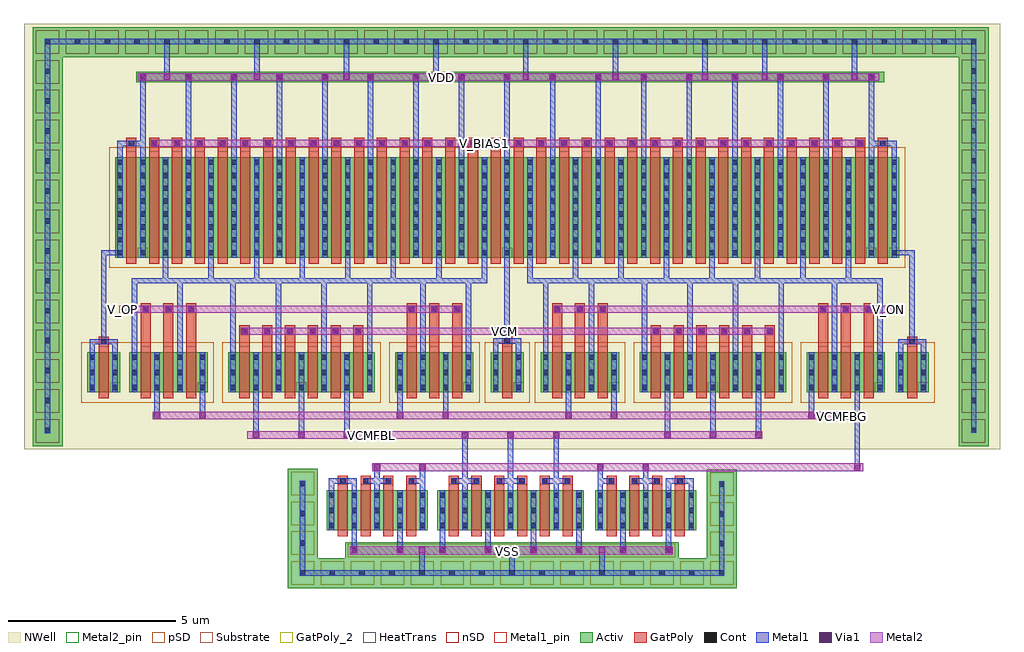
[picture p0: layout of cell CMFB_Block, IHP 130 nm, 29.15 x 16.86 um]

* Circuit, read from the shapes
.subckt CMFB_Block VCM VCMFBG VCMFBL VDD VSS V_BIAS1 V_ON V_OP
XM1 VSS VSS VSS VSS sg13_lv_nmos w=1.2u l=0.3u m=2
XM2 VCMFBG VCMFBG VSS VSS sg13_lv_nmos w=1.2u l=0.3u m=6
XM3 VCMFBL VCMFBL VSS VSS sg13_lv_nmos w=1.2u l=0.3u m=6
XM4 VDD VDD VDD VDD sg13_lv_pmos w=1.2u l=0.3u m=3
XM5 VDD VDD VDD VDD sg13_lv_pmos w=3u l=0.3u m=2
XM6 VCMFBG V_OP n1 VDD sg13_lv_pmos w=1.2u l=0.3u m=6
XM7 n1 V_BIAS1 VDD VDD sg13_lv_pmos w=3u l=0.3u m=16
XM8 VCMFBL VCM n1 VDD sg13_lv_pmos w=1.2u l=0.3u m=6
XM9 n2 V_BIAS1 VDD VDD sg13_lv_pmos w=3u l=0.3u m=16
XM10 VCMFBG V_ON n2 VDD sg13_lv_pmos w=1.2u l=0.3u m=6
XM11 VCMFBL VCM n2 VDD sg13_lv_pmos w=1.2u l=0.3u m=6
.ends

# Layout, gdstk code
from math import pi, radians
import gdstk
lib = gdstk.Library(unit=1e-6, precision=5e-09)
def R(c, l, rs):  # rectangles x0, y0, x1, y1
    for r in rs: c.add(gdstk.rectangle(r[:2], r[2:], *l))
def A(c, l, x, y, w, h, nx, ny, dx, dy):  # array of equal rectangles
    R(c, l, [(x+i*dx, y+j*dy, x+i*dx+w, y+j*dy+h) for i in range(nx) for j in range(ny)])
Activ = (1, 0)
GatPoly = (5, 0)
GatPoly_2 = (5, 2)
Cont = (6, 0)
nSD = (7, 0)
Metal1 = (8, 0)
Metal1_pin = (8, 2)
Metal2 = (10, 0)
Metal2_pin = (10, 2)
pSD = (14, 0)
Via1 = (19, 0)
NWell = (31, 0)
Substrate = (40, 0)
HeatTrans = (51, 0)

pmos_1 = lib.new_cell('pmos$1')
A(pmos_1, Activ, 0, 0, 0.3, 0.3, 17, 1, 0.68, 0)
R(pmos_1, Activ, [(0,0,11.18,3)])
A(pmos_1, GatPoly, 0.34, -0.18, 0.3, 3.36, 16, 1, 0.68, 0)
R(pmos_1, GatPoly, [(0.34,-0.18,0.64,3.18)])
A(pmos_1, Cont, 0.07, 0.07, 0.16, 0.16, 17, 7, 0.68, 0.385)
A(pmos_1, Cont, 0.07, 2.77, 0.16, 0.16, 17, 1, 0.68, 0)
A(pmos_1, Metal1, 0.75, 0, 0.16, 3, 16, 1, 0.68, 0)
R(pmos_1, Metal1, [(0.07,0,0.23,3), (0.07,0,0.23,3), (0.75,0,0.91,3)])
R(pmos_1, pSD, [(-0.18,-0.3,11.36,3.3)])
R(pmos_1, NWell, [(-0.31,-0.31,11.49,3.31)])
R(pmos_1, Substrate, [(10.88,0,11.18,0.3)])
A(pmos_1, HeatTrans, 0.34, -0.18, 0.3, 3.36, 16, 1, 0.68, 0)
pmos_1.add(gdstk.Label('pmos', (0.49,1.5), layer=63, texttype=0))
pmos_1.add(gdstk.Label('pmos', (0.49,1.5), layer=51, texttype=0))
pmos_1.add(gdstk.Label('pmos', (1.17,1.5), layer=51, texttype=0))
pmos_1.add(gdstk.Label('pmos', (1.85,1.5), layer=51, texttype=0))
pmos_1.add(gdstk.Label('pmos', (2.53,1.5), layer=51, texttype=0))
pmos_1.add(gdstk.Label('pmos', (3.21,1.5), layer=51, texttype=0))
pmos_1.add(gdstk.Label('pmos', (3.89,1.5), layer=51, texttype=0))
pmos_1.add(gdstk.Label('pmos', (4.57,1.5), layer=51, texttype=0))
pmos_1.add(gdstk.Label('pmos', (5.25,1.5), layer=51, texttype=0))
pmos_1.add(gdstk.Label('pmos', (5.93,1.5), layer=51, texttype=0))
pmos_1.add(gdstk.Label('pmos', (6.61,1.5), layer=51, texttype=0))
pmos_1.add(gdstk.Label('pmos', (7.29,1.5), layer=51, texttype=0))
pmos_1.add(gdstk.Label('pmos', (7.97,1.5), layer=51, texttype=0))
pmos_1.add(gdstk.Label('pmos', (8.65,1.5), layer=51, texttype=0))
pmos_1.add(gdstk.Label('pmos', (9.33,1.5), layer=51, texttype=0))
pmos_1.add(gdstk.Label('pmos', (10.01,1.5), layer=51, texttype=0))
pmos_1.add(gdstk.Label('pmos', (10.69,1.5), layer=51, texttype=0))

pmos = lib.new_cell('pmos')
A(pmos, Activ, 0, 0, 0.3, 0.3, 4, 1, 0.68, 0)
R(pmos, Activ, [(0,0,2.34,1.2)])
A(pmos, GatPoly, 0.34, -0.18, 0.3, 1.56, 3, 1, 0.68, 0)
R(pmos, GatPoly, [(0.34,-0.18,0.64,1.38)])
A(pmos, Cont, 0.07, 0.07, 0.16, 0.16, 4, 3, 0.68, 0.45)
A(pmos, Metal1, 0.75, 0, 0.16, 1.2, 3, 1, 0.68, 0)
R(pmos, Metal1, [(0.07,0,0.23,1.2), (0.07,0,0.23,1.2), (0.75,0,0.91,1.2)])
R(pmos, pSD, [(-0.18,-0.3,2.52,1.5)])
R(pmos, NWell, [(-0.31,-0.31,2.65,1.51)])
R(pmos, Substrate, [(2.04,0,2.34,0.3)])
A(pmos, HeatTrans, 0.34, -0.18, 0.3, 1.56, 3, 1, 0.68, 0)
pmos.add(gdstk.Label('pmos', (0.49,0.6), layer=63, texttype=0))
pmos.add(gdstk.Label('pmos', (0.49,0.6), layer=51, texttype=0))
pmos.add(gdstk.Label('pmos', (1.17,0.6), layer=51, texttype=0))
pmos.add(gdstk.Label('pmos', (1.85,0.6), layer=51, texttype=0))

nmos_1 = lib.new_cell('nmos$1')
A(nmos_1, Activ, 0, 0, 0.3, 0.3, 4, 1, 0.68, 0)
R(nmos_1, Activ, [(0,0,2.34,1.2)])
A(nmos_1, GatPoly, 0.34, -0.18, 0.3, 1.56, 3, 1, 0.68, 0)
R(nmos_1, GatPoly_2, [(0.34,-0.18,0.64,1.38)])
A(nmos_1, Cont, 0.07, 0.07, 0.16, 0.16, 4, 3, 0.68, 0.45)
A(nmos_1, Metal1, 0.07, 0, 0.16, 1.2, 4, 1, 0.68, 0)
R(nmos_1, Metal1_pin, [(0.07,0,0.23,1.2), (0.75,0,0.91,1.2)])
A(nmos_1, HeatTrans, 0.34, -0.18, 0.3, 1.56, 3, 1, 0.68, 0)
nmos_1.add(gdstk.Label('nmos', (0.49,0.6), layer=63, texttype=0))
nmos_1.add(gdstk.Label('nmos', (0.49,0.6), layer=51, texttype=0))
nmos_1.add(gdstk.Label('nmos', (1.17,0.6), layer=51, texttype=0))
nmos_1.add(gdstk.Label('nmos', (1.85,0.6), layer=51, texttype=0))

pmos_3 = lib.new_cell('pmos$3')
R(pmos_3, Activ, [(0,0,0.3,0.3), (0,0,0.98,3), (0.68,0,0.98,0.3)])
R(pmos_3, GatPoly, [(0.34,-0.18,0.64,3.18), (0.34,-0.18,0.64,3.18)])
A(pmos_3, Cont, 0.07, 0.07, 0.16, 0.16, 1, 7, 0, 0.385)
A(pmos_3, Cont, 0.75, 0.07, 0.16, 0.16, 1, 7, 0, 0.385)
R(pmos_3, Cont, [(0.07,2.77,0.23,2.93), (0.75,2.77,0.91,2.93)])
R(pmos_3, Metal1, [(0.07,0,0.23,3), (0.07,0,0.23,3), (0.75,0,0.91,3), (0.75,0,0.91,3)])
R(pmos_3, pSD, [(-0.18,-0.3,1.16,3.3)])
R(pmos_3, NWell, [(-0.31,-0.31,1.29,3.31)])
R(pmos_3, Substrate, [(0.68,0,0.98,0.3)])
R(pmos_3, HeatTrans, [(0.34,-0.18,0.64,3.18)])
pmos_3.add(gdstk.Label('pmos', (0.49,1.5), layer=63, texttype=0))
pmos_3.add(gdstk.Label('pmos', (0.49,1.5), layer=51, texttype=0))

nmos_2 = lib.new_cell('nmos$2')
R(nmos_2, Activ, [(0,0,0.3,0.3), (0,0,0.98,1.2), (0.68,0,0.98,0.3)])
R(nmos_2, GatPoly, [(0.34,-0.18,0.64,1.38)])
R(nmos_2, GatPoly_2, [(0.34,-0.18,0.64,1.38)])
A(nmos_2, Cont, 0.07, 0.07, 0.16, 0.16, 1, 3, 0, 0.45)
A(nmos_2, Cont, 0.75, 0.07, 0.16, 0.16, 1, 3, 0, 0.45)
R(nmos_2, Metal1, [(0.07,0,0.23,1.2), (0.75,0,0.91,1.2)])
R(nmos_2, Metal1_pin, [(0.07,0,0.23,1.2), (0.75,0,0.91,1.2)])
R(nmos_2, HeatTrans, [(0.34,-0.18,0.64,1.38)])
nmos_2.add(gdstk.Label('nmos', (0.49,0.6), layer=63, texttype=0))
nmos_2.add(gdstk.Label('nmos', (0.49,0.6), layer=51, texttype=0))

pmos_4 = lib.new_cell('pmos$4')
R(pmos_4, Activ, [(0,0,0.3,0.3), (0,0,0.98,1.2), (0.68,0,0.98,0.3)])
R(pmos_4, GatPoly, [(0.34,-0.18,0.64,1.38), (0.34,-0.18,0.64,1.38)])
A(pmos_4, Cont, 0.07, 0.07, 0.16, 0.16, 1, 3, 0, 0.45)
A(pmos_4, Cont, 0.75, 0.07, 0.16, 0.16, 1, 3, 0, 0.45)
R(pmos_4, Metal1, [(0.07,0,0.23,1.2), (0.07,0,0.23,1.2), (0.75,0,0.91,1.2), (0.75,0,0.91,1.2)])
R(pmos_4, pSD, [(-0.18,-0.3,1.16,1.5)])
R(pmos_4, NWell, [(-0.31,-0.31,1.29,1.51)])
R(pmos_4, Substrate, [(0.68,0,0.98,0.3)])
R(pmos_4, HeatTrans, [(0.34,-0.18,0.64,1.38)])
pmos_4.add(gdstk.Label('pmos', (0.49,0.6), layer=63, texttype=0))
pmos_4.add(gdstk.Label('pmos', (0.49,0.6), layer=51, texttype=0))

cmfb_block = lib.new_cell('CMFB_Block')
A(cmfb_block, Activ, 3.625, -9.855, 0.9, 0.9, 1, 4, 0, 0.89)
A(cmfb_block, Activ, 4.51, -9.855, 0.9, 0.9, 14, 1, 0.895, 0)
A(cmfb_block, Activ, 16.145, -8.98, 0.9, 0.9, 1, 3, 0, 0.89)
A(cmfb_block, Activ, -3.995, -5.615, 0.9, 0.9, 1, 4, 0, 0.895)
A(cmfb_block, Activ, 23.665, -5.61, 0.9, 0.9, 1, 4, 0, 0.895)
A(cmfb_block, Activ, -3.995, -2.04, 0.9, 0.9, 1, 8, 0, 0.895)
A(cmfb_block, Activ, 23.665, -2.035, 0.9, 0.9, 1, 8, 0, 0.895)
A(cmfb_block, Activ, -3.1, 6.005, 0.9, 0.9, 3, 1, 0.89, 0)
A(cmfb_block, Activ, 0.465, 6.005, 0.9, 0.9, 3, 1, 0.895, 0)
A(cmfb_block, Activ, 5.82, 6.005, 0.9, 0.9, 3, 1, 0.895, 0)
A(cmfb_block, Activ, 11.175, 6.005, 0.9, 0.9, 3, 1, 0.895, 0)
A(cmfb_block, Activ, 16.53, 6.005, 0.9, 0.9, 4, 1, 0.895, 0)
R(cmfb_block, Activ, [(5.35,-8.98,15.3,-8.48), (-3.995,5.115,-3.095,6.015), (23.665,5.12,24.565,6.02), (-0.9,5.25,21.45,5.575), (-3.995,6.005,-3.095,6.905), (-0.425,6.005,0.475,6.905), (3.145,6.005,4.045,6.905), (4.035,6.005,4.935,6.905), (4.93,6.005,5.83,6.905), (8.5,6.005,9.4,6.905), (9.39,6.005,10.29,6.905), (10.285,6.005,11.185,6.905), (13.855,6.005,14.755,6.905), (14.745,6.005,15.645,6.905), (15.64,6.005,16.54,6.905), (20.105,6.005,21.005,6.905), (20.995,6.005,21.895,6.905), (21.89,6.005,22.79,6.905), (22.78,6.005,23.68,6.905), (23.665,6.005,24.565,6.905)])
A(cmfb_block, GatPoly, 5.125, -6.825, 0.3, 0.325, 4, 1, 0.68, 0)
A(cmfb_block, GatPoly, 8.435, -6.825, 0.3, 0.325, 6, 1, 0.68, 0)
A(cmfb_block, GatPoly, 13.15, -6.825, 0.3, 0.325, 4, 1, 0.68, 0)
A(cmfb_block, GatPoly, 2.185, -2.675, 0.3, 0.675, 3, 1, 0.68, 0)
A(cmfb_block, GatPoly, 14.475, -2.675, 0.3, 0.675, 3, 1, 0.68, 0)
A(cmfb_block, GatPoly, -1.19, 3.15, 0.3, 0.45, 34, 1, 0.68, 0)
R(cmfb_block, GatPoly, [(3.545,-2.675,3.845,-2), (4.225,-2.675,4.525,-2), (4.225,-2.675,4.525,-2), (4.905,-2.675,5.205,-2), (4.905,-2.675,5.205,-2), (5.585,-2.675,5.885,-2), (5.585,-2.675,5.885,-2), (15.835,-2.675,16.135,-2), (16.515,-2.675,16.815,-2), (16.515,-2.675,16.815,-2), (17.195,-2.675,17.495,-2), (17.195,-2.675,17.495,-2), (17.875,-2.675,18.175,-2), (17.875,-2.675,18.175,-2), (-2.02,-2.67,-1.72,-2.345), (22.125,-2.67,22.425,-2.345), (-0.765,-2.65,-0.465,-1.35), (-0.765,-2.65,-0.465,-1.35), (-0.085,-2.65,0.215,-1.35), (-0.085,-2.65,0.215,-1.35), (0.595,-2.65,0.895,-1.35), (0.595,-2.65,0.895,-1.35), (7.175,-2.65,7.475,-1.35), (7.175,-2.65,7.475,-1.35), (7.855,-2.65,8.155,-1.35), (7.855,-2.65,8.155,-1.35), (8.535,-2.65,8.835,-1.35), (8.535,-2.65,8.835,-1.35), (11.525,-2.65,11.825,-1.35), (11.525,-2.65,11.825,-1.35), (12.205,-2.65,12.505,-1.35), (12.205,-2.65,12.505,-1.35), (12.885,-2.65,13.185,-1.35), (12.885,-2.65,13.185,-1.35), (19.465,-2.65,19.765,-1.35), (19.465,-2.65,19.765,-1.35), (20.145,-2.65,20.445,-1.35), (20.145,-2.65,20.445,-1.35), (20.825,-2.65,21.125,-1.35), (20.825,-2.65,21.125,-1.35), (10.03,-2.645,10.33,-2.32)])
A(cmfb_block, Cont, 3.99, -9.48, 0.16, 0.16, 1, 4, 0, 0.89)
A(cmfb_block, Cont, 4.875, -9.48, 0.16, 0.16, 7, 1, 0.895, 0)
A(cmfb_block, Cont, 10.245, -9.48, 0.16, 0.16, 4, 1, 0.895, 0)
A(cmfb_block, Cont, 12.93, -9.48, 0.16, 0.16, 5, 1, 0.895, 0)
A(cmfb_block, Cont, 8.165, -8.8, 0.16, 0.16, 4, 1, 1.36, 0)
A(cmfb_block, Cont, 16.51, -8.605, 0.16, 0.16, 1, 3, 0, 0.89)
A(cmfb_block, Cont, 5.195, -6.73, 0.16, 0.16, 4, 1, 0.68, 0)
A(cmfb_block, Cont, 8.505, -6.73, 0.16, 0.16, 6, 1, 0.68, 0)
A(cmfb_block, Cont, 13.22, -6.73, 0.16, 0.16, 4, 1, 0.68, 0)
A(cmfb_block, Cont, -3.625, -5.225, 0.16, 0.16, 1, 4, 0, 0.895)
A(cmfb_block, Cont, 24.035, -5.22, 0.16, 0.16, 1, 4, 0, 0.895)
A(cmfb_block, Cont, 2.255, -2.26, 0.16, 0.16, 3, 1, 0.68, 0)
A(cmfb_block, Cont, 14.545, -2.26, 0.16, 0.16, 3, 1, 0.68, 0)
A(cmfb_block, Cont, -3.625, -1.65, 0.16, 0.16, 1, 8, 0, 0.895)
A(cmfb_block, Cont, 24.035, -1.645, 0.16, 0.16, 1, 8, 0, 0.895)
A(cmfb_block, Cont, -0.44, 3.35, 0.16, 0.16, 33, 1, 0.68, 0)
A(cmfb_block, Cont, -0.78, 5.34, 0.16, 0.16, 8, 1, 1.36, 0)
A(cmfb_block, Cont, 8.74, 5.34, 0.16, 0.16, 10, 1, 1.36, 0)
A(cmfb_block, Cont, -2.73, 6.395, 0.16, 0.16, 3, 1, 0.89, 0)
A(cmfb_block, Cont, 0.835, 6.395, 0.16, 0.16, 3, 1, 0.895, 0)
A(cmfb_block, Cont, 2.625, 6.395, 0.16, 0.16, 3, 1, 0.89, 0)
A(cmfb_block, Cont, 6.19, 6.395, 0.16, 0.16, 3, 1, 0.895, 0)
A(cmfb_block, Cont, 7.98, 6.395, 0.16, 0.16, 3, 1, 0.89, 0)
A(cmfb_block, Cont, 11.545, 6.395, 0.16, 0.16, 3, 1, 0.895, 0)
A(cmfb_block, Cont, 13.335, 6.395, 0.16, 0.16, 3, 1, 0.89, 0)
A(cmfb_block, Cont, 17.795, 6.395, 0.16, 0.16, 3, 1, 0.895, 0)
R(cmfb_block, Cont, [(5.535,-8.8,5.695,-8.64), (6.895,-8.8,7.055,-8.64), (13.56,-8.8,13.72,-8.64), (14.92,-8.8,15.08,-8.64), (-1.95,-2.575,-1.79,-2.415), (22.195,-2.575,22.355,-2.415), (10.1,-2.55,10.26,-2.39), (3.615,-2.26,3.775,-2.1), (4.295,-2.26,4.455,-2.1), (4.295,-2.26,4.455,-2.1), (4.975,-2.26,5.135,-2.1), (4.975,-2.26,5.135,-2.1), (5.655,-2.26,5.815,-2.1), (5.655,-2.26,5.815,-2.1), (15.905,-2.26,16.065,-2.1), (16.585,-2.26,16.745,-2.1), (16.585,-2.26,16.745,-2.1), (17.265,-2.26,17.425,-2.1), (17.265,-2.26,17.425,-2.1), (17.945,-2.26,18.105,-2.1), (17.945,-2.26,18.105,-2.1), (-0.695,-1.6,-0.535,-1.44), (-0.695,-1.6,-0.535,-1.44), (-0.015,-1.6,0.145,-1.44), (-0.015,-1.6,0.145,-1.44), (0.665,-1.6,0.825,-1.44), (0.665,-1.6,0.825,-1.44), (7.245,-1.6,7.405,-1.44), (7.245,-1.6,7.405,-1.44), (7.925,-1.6,8.085,-1.44), (7.925,-1.6,8.085,-1.44), (8.605,-1.6,8.765,-1.44), (8.605,-1.6,8.765,-1.44), (11.595,-1.6,11.755,-1.44), (11.595,-1.6,11.755,-1.44), (12.275,-1.6,12.435,-1.44), (12.275,-1.6,12.435,-1.44), (12.955,-1.6,13.115,-1.44), (12.955,-1.6,13.115,-1.44), (19.535,-1.6,19.695,-1.44), (19.535,-1.6,19.695,-1.44), (20.215,-1.6,20.375,-1.44), (20.215,-1.6,20.375,-1.44), (20.895,-1.6,21.055,-1.44), (20.895,-1.6,21.055,-1.44), (-1.12,3.35,-0.96,3.51), (-1.12,3.35,-0.96,3.51), (-0.44,3.35,-0.28,3.51), (21.32,3.35,21.48,3.51), (-3.625,5.505,-3.465,5.665), (24.035,5.51,24.195,5.67), (-3.625,6.395,-3.465,6.555), (-0.055,6.395,0.105,6.555), (5.3,6.395,5.46,6.555), (5.3,6.395,5.46,6.555), (10.655,6.395,10.815,6.555), (10.655,6.395,10.815,6.555), (16.01,6.395,16.17,6.555), (16.01,6.395,16.17,6.555), (16.9,6.395,17.06,6.555), (17.795,6.395,17.955,6.555), (20.475,6.395,20.635,6.555), (20.475,6.395,20.635,6.555), (21.365,6.395,21.525,6.555), (22.26,6.395,22.42,6.555), (23.15,6.395,23.31,6.555), (24.035,6.395,24.195,6.555)])
A(cmfb_block, nSD, -3.9, -5.515, 0.7, 0.7, 1, 4, 0, 0.895)
A(cmfb_block, nSD, 23.76, -5.51, 0.7, 0.7, 1, 4, 0, 0.895)
A(cmfb_block, nSD, -3.9, -1.94, 0.7, 0.7, 1, 8, 0, 0.895)
A(cmfb_block, nSD, 23.76, -1.935, 0.7, 0.7, 1, 8, 0, 0.895)
A(cmfb_block, nSD, -3.005, 6.105, 0.7, 0.7, 3, 1, 0.89, 0)
A(cmfb_block, nSD, 0.56, 6.105, 0.7, 0.7, 3, 1, 0.895, 0)
A(cmfb_block, nSD, 5.915, 6.105, 0.7, 0.7, 3, 1, 0.895, 0)
A(cmfb_block, nSD, 11.27, 6.105, 0.7, 0.7, 3, 1, 0.895, 0)
A(cmfb_block, nSD, 16.625, 6.105, 0.7, 0.7, 4, 1, 0.895, 0)
R(cmfb_block, nSD, [(-3.9,5.215,-3.2,5.915), (23.76,5.22,24.46,5.92), (-3.9,6.105,-3.2,6.805), (-0.33,6.105,0.37,6.805), (3.24,6.105,3.94,6.805), (4.13,6.105,4.83,6.805), (5.025,6.105,5.725,6.805), (8.595,6.105,9.295,6.805), (9.485,6.105,10.185,6.805), (10.38,6.105,11.08,6.805), (13.95,6.105,14.65,6.805), (14.84,6.105,15.54,6.805), (15.735,6.105,16.435,6.805), (20.2,6.105,20.9,6.805), (21.09,6.105,21.79,6.805), (21.985,6.105,22.685,6.805), (22.875,6.105,23.575,6.805), (23.76,6.105,24.46,6.805)])
A(cmfb_block, Metal1, 7.56, -9.48, 0.16, 0.845, 3, 1, 2.685, 0)
A(cmfb_block, Metal1, 8.165, -8.8, 0.16, 0.9, 4, 1, 1.36, 0)
A(cmfb_block, Metal1, 8.845, -7.16, 0.16, 1.95, 3, 1, 1.36, 0)
A(cmfb_block, Metal1, 2.595, -5.365, 0.16, 1.585, 3, 1, 1.36, 0)
A(cmfb_block, Metal1, 14.885, -5.365, 0.16, 1.585, 3, 1, 1.36, 0)
A(cmfb_block, Metal1, 1.915, -3.04, 0.16, 2.445, 4, 1, 1.36, 0)
A(cmfb_block, Metal1, 14.205, -3.04, 0.16, 2.445, 4, 1, 1.36, 0)
A(cmfb_block, Metal1, 2.255, -2.26, 0.16, 0.16, 3, 1, 0.68, 0)
A(cmfb_block, Metal1, 14.545, -2.26, 0.16, 0.16, 3, 1, 0.68, 0)
A(cmfb_block, Metal1, -0.695, -1.6, 0.16, 0.16, 3, 1, 0.68, 0)
A(cmfb_block, Metal1, 7.245, -1.6, 0.16, 0.16, 3, 1, 0.68, 0)
A(cmfb_block, Metal1, 11.595, -1.6, 0.16, 0.16, 3, 1, 0.68, 0)
A(cmfb_block, Metal1, 19.535, -1.6, 0.16, 0.16, 3, 1, 0.68, 0)
A(cmfb_block, Metal1, -0.1, -0.755, 0.16, 1, 16, 1, 1.36, 0)
A(cmfb_block, Metal1, -0.78, 2.785, 0.16, 2.715, 17, 1, 1.36, 0)
A(cmfb_block, Metal1, -0.44, 3.35, 0.16, 0.16, 32, 1, 0.68, 0)
R(cmfb_block, Metal1, [(3.99,-9.48,16.67,-9.32), (3.99,-9.48,4.15,-6.65), (16.51,-9.48,16.67,-6.665), (5.535,-8.8,5.695,-7.9), (6.895,-8.8,7.055,-7.9), (13.56,-8.8,13.72,-7.9), (14.92,-8.8,15.08,-7.9), (4.855,-7.16,5.015,-6.57), (5.535,-7.16,5.695,-6.57), (6.215,-7.16,6.375,-6.16), (7.575,-7.16,7.735,-6.16), (12.88,-7.16,13.04,-6.16), (14.24,-7.16,14.4,-6.16), (14.92,-7.16,15.08,-6.57), (15.6,-7.16,15.76,-6.57), (4.855,-6.73,5.695,-6.57), (5.875,-6.73,6.375,-6.57), (6.215,-6.73,6.715,-6.57), (7.235,-6.73,7.735,-6.57), (8.505,-6.73,9.005,-6.57), (8.845,-6.73,9.345,-6.57), (9.865,-6.73,10.365,-6.57), (10.205,-6.73,10.705,-6.57), (11.225,-6.73,11.725,-6.57), (11.565,-6.73,12.065,-6.57), (12.88,-6.73,13.38,-6.57), (13.9,-6.73,14.4,-6.57), (14.24,-6.73,14.74,-6.57), (14.92,-6.73,15.76,-6.57), (20.555,-6.345,20.715,-4.625), (-3.625,-5.225,-3.465,6.555), (24.035,-5.22,24.195,6.555), (-0.355,-4.78,-0.195,-3.78), (1.005,-4.78,1.165,-3.78), (6.905,-4.78,7.065,-3.78), (8.265,-4.78,8.425,-3.78), (11.935,-4.78,12.095,-3.78), (13.295,-4.78,13.455,-3.78), (19.195,-4.78,19.355,-3.78), (20.555,-4.78,20.715,-3.78), (-2.29,-3.04,-2.13,-2.415), (-1.61,-3.04,-1.45,-2.415), (-1.035,-3.04,-0.875,-0.595), (0.325,-3.04,0.485,-0.595), (7.585,-3.04,7.745,-0.595), (8.945,-3.04,9.105,-0.595), (9.76,-3.04,9.92,-2.39), (10.44,-3.04,10.6,-2.39), (11.255,-3.04,11.415,-0.595), (12.615,-3.04,12.775,-0.595), (19.875,-3.04,20.035,-0.595), (21.235,-3.04,21.395,-0.595), (21.855,-3.04,22.015,-2.415), (22.535,-3.04,22.695,-2.415), (-2.29,-2.575,-1.45,-2.415), (-1.95,-2.575,-1.79,0.245), (21.855,-2.575,22.695,-2.415), (22.195,-2.575,22.355,0.245), (9.76,-2.55,10.6,-2.39), (10.1,-2.55,10.26,0.245), (3.615,-2.26,3.775,-2.1), (4.295,-2.26,4.455,-2.1), (4.295,-2.26,4.455,-2.1), (4.975,-2.26,5.135,-2.1), (4.975,-2.26,5.135,-2.1), (5.655,-2.26,5.815,-2.1), (5.655,-2.26,5.815,-2.1), (15.905,-2.26,16.065,-2.1), (16.585,-2.26,16.745,-2.1), (16.585,-2.26,16.745,-2.1), (17.265,-2.26,17.425,-2.1), (17.265,-2.26,17.425,-2.1), (17.945,-2.26,18.105,-2.1), (17.945,-2.26,18.105,-2.1), (-1.035,-0.755,0.06,-0.595), (-0.1,-0.755,9.58,-0.595), (10.78,-0.755,20.46,-0.595), (20.3,-0.755,21.395,-0.595), (-1.95,0.085,-1.3,0.245), (21.66,0.085,22.355,0.245), (-1.46,2.785,-1.3,3.51), (21.66,2.785,21.82,3.51), (-1.46,3.35,-0.62,3.51), (-0.44,3.35,-0.28,3.51), (20.98,3.35,21.82,3.51), (-0.055,5.335,0.105,6.555), (2.625,5.335,2.785,6.555), (5.3,5.335,5.46,6.555), (7.98,5.335,8.14,6.555), (10.655,5.335,10.815,6.555), (13.335,5.335,13.495,6.555), (16.01,5.335,16.17,6.555), (17.795,5.335,17.955,6.555), (20.475,5.335,20.635,6.555), (-3.625,6.395,24.195,6.555)])
R(cmfb_block, Metal2, [(5.475,-8.85,15.125,-8.6), (6.15,-6.37,14.45,-6.125), (14.435,-6.37,20.82,-6.125), (2.425,-5.395,17.8,-5.17), (-0.4,-4.815,20.825,-4.59), (2.225,-2.285,18.135,-2.075), (-1.41,-1.625,8.79,-1.415), (11.565,-1.625,21.765,-1.415), (-0.47,3.325,20.835,3.535), (-0.85,5.3,21.3,5.525)])
R(cmfb_block, Metal2_pin, [(5.475,-8.85,15.125,-8.6), (2.425,-5.395,17.8,-5.17), (-0.4,-4.815,20.825,-4.59), (2.225,-2.285,18.135,-2.075), (-1.41,-1.625,8.79,-1.415), (11.565,-1.625,21.765,-1.415), (-0.47,3.325,20.835,3.535), (-0.85,5.3,21.3,5.525)])
A(cmfb_block, pSD, 3.725, -9.75, 0.7, 0.7, 1, 4, 0, 0.89)
A(cmfb_block, pSD, 4.61, -9.75, 0.7, 0.7, 14, 1, 0.895, 0)
A(cmfb_block, pSD, 16.245, -8.875, 0.7, 0.7, 1, 3, 0, 0.89)
R(cmfb_block, pSD, [(5.425,-8.93,15.2,-8.53)])
A(cmfb_block, Via1, 2.58, -5.375, 0.19, 0.19, 3, 1, 1.36, 0)
A(cmfb_block, Via1, 8.83, -5.375, 0.19, 0.19, 3, 1, 1.36, 0)
A(cmfb_block, Via1, 14.87, -5.375, 0.19, 0.19, 3, 1, 1.36, 0)
A(cmfb_block, Via1, 2.24, -2.275, 0.19, 0.19, 3, 1, 0.68, 0)
A(cmfb_block, Via1, 14.53, -2.275, 0.19, 0.19, 3, 1, 0.68, 0)
A(cmfb_block, Via1, -0.71, -1.615, 0.19, 0.19, 3, 1, 0.68, 0)
A(cmfb_block, Via1, 7.23, -1.615, 0.19, 0.19, 3, 1, 0.68, 0)
A(cmfb_block, Via1, 11.58, -1.615, 0.19, 0.19, 3, 1, 0.68, 0)
A(cmfb_block, Via1, 19.52, -1.615, 0.19, 0.19, 3, 1, 0.68, 0)
A(cmfb_block, Via1, -0.455, 3.335, 0.19, 0.19, 32, 1, 0.68, 0)
A(cmfb_block, Via1, 7.365, 5.325, 0.19, 0.19, 4, 1, 1.36, 0)
A(cmfb_block, Via1, 18.245, 5.325, 0.19, 0.19, 3, 1, 1.36, 0)
R(cmfb_block, Via1, [(5.52,-8.815,5.71,-8.625), (8.15,-8.815,8.34,-8.625), (10.87,-8.815,11.06,-8.625), (13.545,-8.815,13.735,-8.625), (6.88,-8.81,7.07,-8.62), (7.545,-8.81,7.735,-8.62), (9.51,-8.81,9.7,-8.62), (10.23,-8.81,10.42,-8.62), (12.23,-8.81,12.42,-8.62), (12.915,-8.81,13.105,-8.62), (14.905,-8.81,15.095,-8.62), (20.54,-6.36,20.73,-6.17), (6.2,-6.34,6.39,-6.15), (7.56,-6.34,7.75,-6.15), (12.865,-6.34,13.055,-6.15), (14.225,-6.34,14.415,-6.15), (-0.37,-4.795,-0.18,-4.605), (0.99,-4.795,1.18,-4.605), (6.89,-4.795,7.08,-4.605), (8.25,-4.795,8.44,-4.605), (11.92,-4.795,12.11,-4.605), (13.28,-4.795,13.47,-4.605), (19.18,-4.795,19.37,-4.605), (20.54,-4.795,20.73,-4.605), (3.6,-2.275,3.79,-2.085), (4.28,-2.275,4.47,-2.085), (4.28,-2.275,4.47,-2.085), (4.96,-2.275,5.15,-2.085), (4.96,-2.275,5.15,-2.085), (5.64,-2.275,5.83,-2.085), (5.64,-2.275,5.83,-2.085), (15.89,-2.275,16.08,-2.085), (16.57,-2.275,16.76,-2.085), (16.57,-2.275,16.76,-2.085), (17.25,-2.275,17.44,-2.085), (17.25,-2.275,17.44,-2.085), (17.93,-2.275,18.12,-2.085), (17.93,-2.275,18.12,-2.085), (-0.455,3.335,-0.265,3.525), (-0.07,5.315,0.12,5.505), (2.61,5.315,2.8,5.505), (5.285,5.315,5.475,5.505), (7.965,5.315,8.155,5.505), (10.64,5.315,10.83,5.505), (13.32,5.315,13.51,5.505), (15.995,5.315,16.185,5.505), (17.78,5.315,17.97,5.505), (20.46,5.315,20.65,5.505), (1.925,5.32,2.115,5.51), (3.285,5.32,3.475,5.51), (12.805,5.32,12.995,5.51), (14.165,5.32,14.355,5.51), (-0.795,5.325,-0.605,5.515), (0.565,5.325,0.755,5.515), (4.645,5.33,4.835,5.52), (6.005,5.33,6.195,5.52), (15.525,5.33,15.715,5.52), (16.885,5.33,17.075,5.52)])
R(cmfb_block, NWell, [(-4.25,-5.7,24.9,7)])
cmfb_block.add(gdstk.Reference(pmos_1, (-0.85,0.015)))
cmfb_block.add(gdstk.Reference(pmos_1, (10.03,0.015)))
cmfb_block.add(gdstk.Reference(pmos, (6.835,-4.01)))
cmfb_block.add(gdstk.Reference(pmos, (6.225,-4.01), rotation=pi, x_reflection=True))
cmfb_block.add(gdstk.Reference(pmos, (1.845,-4.01)))
cmfb_block.add(gdstk.Reference(pmos, (-1.105,-4.01)))
cmfb_block.add(gdstk.Reference(pmos, (19.125,-4.01)))
cmfb_block.add(gdstk.Reference(pmos, (18.515,-4.01), rotation=pi, x_reflection=True))
cmfb_block.add(gdstk.Reference(pmos, (14.135,-4.01)))
cmfb_block.add(gdstk.Reference(pmos, (11.185,-4.01)))
cmfb_block.add(gdstk.Reference(nmos_1, (5.465,-8.13)))
cmfb_block.add(gdstk.Reference(nmos_1, (8.095,-8.13)))
cmfb_block.add(gdstk.Reference(nmos_1, (10.135,-8.13)))
cmfb_block.add(gdstk.Reference(nmos_1, (12.81,-8.13)))
cmfb_block.add(gdstk.Reference(pmos_3, (-1.53,0.015)))
cmfb_block.add(gdstk.Reference(pmos_3, (20.91,0.015)))
cmfb_block.add(gdstk.Reference(nmos_2, (4.785,-8.13)))
cmfb_block.add(gdstk.Reference(nmos_2, (14.85,-8.13)))
cmfb_block.add(gdstk.Reference(pmos_4, (9.69,-4.01)))
cmfb_block.add(gdstk.Reference(pmos_4, (-2.36,-4.01)))
cmfb_block.add(gdstk.Reference(pmos_4, (21.785,-4.01)))
cmfb_block.add(gdstk.Label('VDD', (8.22,5.4), layer=10, texttype=25))
cmfb_block.add(gdstk.Label('V_BIAS1', (9.495,3.42), layer=10, texttype=25))
cmfb_block.add(gdstk.Label('V_OP', (-1.315,-1.525), layer=10, texttype=25))
cmfb_block.add(gdstk.Label('V_ON', (21.56,-1.54), layer=10, texttype=25))
cmfb_block.add(gdstk.Label('VCM', (10.1,-2.18), layer=10, texttype=25))
cmfb_block.add(gdstk.Label('VCMFBG', (20.165,-4.715), layer=10, texttype=25))
cmfb_block.add(gdstk.Label('VCMFBL', (6.135,-5.29), layer=10, texttype=25))
cmfb_block.add(gdstk.Label('VSS', (10.185,-8.745), layer=10, texttype=25))

lib.write_gds('CMFB_Block.gds')
